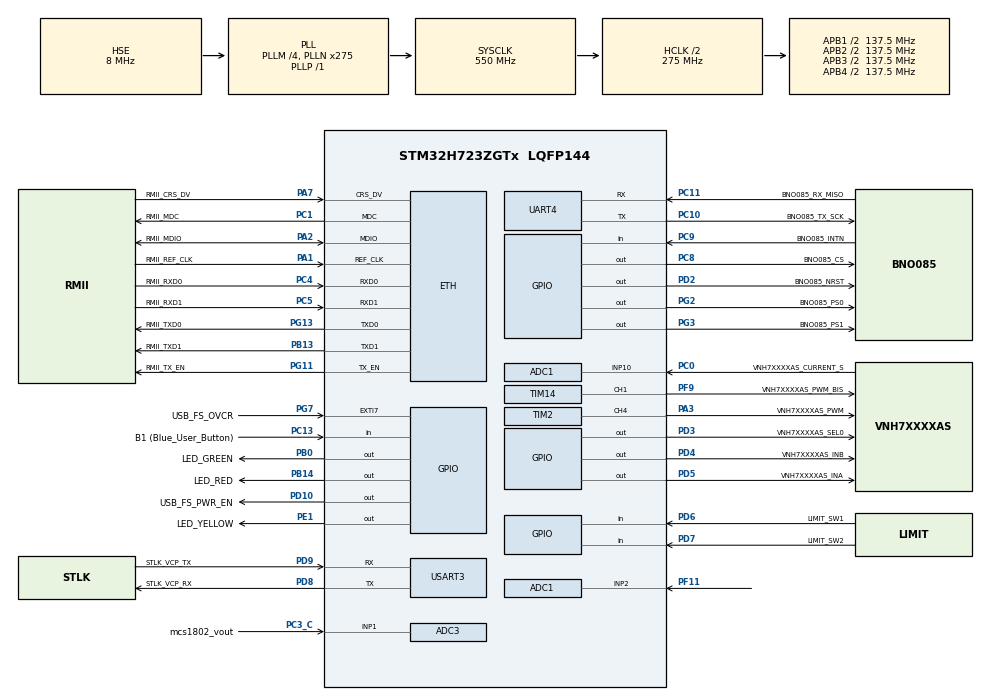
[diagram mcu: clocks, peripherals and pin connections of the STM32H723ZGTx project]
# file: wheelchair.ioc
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ADC1.Channel-0\#ChannelRegularConversion=ADC_CHANNEL_2
ADC1.NbrOfConversionFlag=1
ADC1.OffsetNumber-0\#ChannelRegularConversion=ADC_OFFSET_NONE
ADC1.OffsetSignedSaturation-0\#ChannelRegularConversion=DISABLE
ADC1.Rank-0\#ChannelRegularConversion=1
ADC1.SamplingTime-0\#ChannelRegularConversion=ADC_SAMPLETIME_1CYCLE_5
ADC1.master=1
ADC3.Channel-0\#ChannelRegularConversion=ADC_CHANNEL_1
ADC3.NbrOfConversionFlag=1
ADC3.OffsetNumber-0\#ChannelRegularConversion=ADC_OFFSET_NONE
ADC3.OffsetSign-0\#ChannelRegularConversion=ADC3_OFFSET_SIGN_NEGATIVE
ADC3.Rank-0\#ChannelRegularConversion=1
ADC3.SamplingTime-0\#ChannelRegularConversion=ADC3_SAMPLETIME_2CYCLES_5
CORTEX_M7.AccessPermission_S-Cortex_Memory_Protection_Unit_Region1_Settings_S=MPU_REGION_FULL_ACCESS
CORTEX_M7.AccessPermission_S-Cortex_Memory_Protection_Unit_Region2_Settings_S=MPU_REGION_FULL_ACCESS
CORTEX_M7.BaseAddress_S-Cortex_Memory_Protection_Unit_Region1_Settings_S=0x30000000
CORTEX_M7.BaseAddress_S-Cortex_Memory_Protection_Unit_Region2_Settings_S=0x30004000
CORTEX_M7.CPU_DCache=Enabled
CORTEX_M7.CPU_ICache=Enabled
CORTEX_M7.DisableExec_S-Cortex_Memory_Protection_Unit_Region1_Settings_S=MPU_INSTRUCTION_ACCESS_DISABLE
CORTEX_M7.Enable_S-Cortex_Memory_Protection_Unit_Region1_Settings_S=MPU_REGION_ENABLE
CORTEX_M7.Enable_S-Cortex_Memory_Protection_Unit_Region2_Settings_S=MPU_REGION_ENABLE
CORTEX_M7.IsBufferable_S-Cortex_Memory_Protection_Unit_Region1_Settings_S=MPU_ACCESS_BUFFERABLE
CORTEX_M7.IsBufferable_S-Cortex_Memory_Protection_Unit_Region2_Settings_S=MPU_ACCESS_BUFFERABLE
CORTEX_M7.IsCacheable_S-Cortex_Memory_Protection_Unit_Region1_Settings_S=MPU_ACCESS_CACHEABLE
CORTEX_M7.IsCacheable_S-Cortex_Memory_Protection_Unit_Region2_Settings_S=MPU_ACCESS_CACHEABLE
CORTEX_M7.IsShareable_S-Cortex_Memory_Protection_Unit_Region1_Settings_S=MPU_ACCESS_SHAREABLE
CORTEX_M7.IsShareable_S-Cortex_Memory_Protection_Unit_Region2_Settings_S=MPU_ACCESS_SHAREABLE
CORTEX_M7.Size_S-Cortex_Memory_Protection_Unit_Region1_Settings_S=MPU_REGION_SIZE_32KB
CORTEX_M7.Size_S-Cortex_Memory_Protection_Unit_Region2_Settings_S=MPU_REGION_SIZE_16KB
CORTEX_M7.TypeExtField_S-Cortex_Memory_Protection_Unit_Region2_Settings_S=MPU_TEX_LEVEL1
CORTEX_M7.default_mode_Activation=1
Dma.Request0=UART4_RX
Dma.UART4_RX.0.Direction=DMA_PERIPH_TO_MEMORY
Dma.UART4_RX.0.EventEnable=DISABLE
Dma.UART4_RX.0.FIFOMode=DMA_FIFOMODE_DISABLE
Dma.UART4_RX.0.Instance=DMA1_Stream0
Dma.UART4_RX.0.MemDataAlignment=DMA_MDATAALIGN_BYTE
Dma.UART4_RX.0.MemInc=DMA_MINC_ENABLE
Dma.UART4_RX.0.Mode=DMA_NORMAL
Dma.UART4_RX.0.PeriphDataAlignment=DMA_PDATAALIGN_BYTE
Dma.UART4_RX.0.PeriphInc=DMA_PINC_DISABLE
Dma.UART4_RX.0.Polarity=HAL_DMAMUX_REQ_GEN_RISING
Dma.UART4_RX.0.Priority=DMA_PRIORITY_LOW
Dma.UART4_RX.0.RequestNumber=1
Dma.UART4_RX.0.SignalID=NONE
Dma.UART4_RX.0.SyncEnable=DISABLE
Dma.UART4_RX.0.SyncPolarity=HAL_DMAMUX_SYNC_NO_EVENT
Dma.UART4_RX.0.SyncRequestNumber=1
Dma.UART4_RX.0.SyncSignalID=NONE
ETH.MediaInterface=HAL_ETH_RMII_MODE
ETH.RxBuffLen=1536
ETH.RxBufferAddress=0x30000200
ETH.TxDescAddress=0x30000100
FREERTOS.INCLUDE_vTaskDelayUntil=1
FREERTOS.Queues01=imu_queue,19,uint8_t,0,Dynamic,NULL,NULL;debug_queue,4,control_vars_t,0,Dynamic,NULL,NULL
FREERTOS.Tasks01=defaultTask,0,4096,StartDefaultTask,Default,NULL,Dynamic,NULL,NULL;debugTask,-3,2048,startDebugTask,Default,NULL,Dynamic,NULL,NULL;ctrlSystemTask,-3,4096,StartCtrlSystemTask,Default,NULL,Dynamic,NULL,NULL
FREERTOS.configMINIMAL_STACK_SIZE=512
FREERTOS.configTIMER_QUEUE_LENGTH=15
FREERTOS.configTIMER_TASK_STACK_DEPTH=2048
FREERTOS.configTOTAL_HEAP_SIZE=153600
FREERTOS.configUSE_COUNTING_SEMAPHORES=0
FREERTOS.configUSE_NEWLIB_REENTRANT=1
FREERTOS.configUSE_RECURSIVE_MUTEXES=0
FREERTOS.configUSE_TIMERS=1
LWIP.BSP.number=1
LWIP.DEFAULT_THREAD_STACKSIZE=4096
LWIP.IP_ADDRESS=192.168.033.100
LWIP.LWIP_DHCP=0
LWIP.MEM_SIZE=10*1024
LWIP.NETMASK_ADDRESS=255.255.255.000
LWIP.PBUF_POOL_BUFSIZE=1536
LWIP.TCPIP_THREAD_STACKSIZE=4096
LWIP.TCP_MSS=1460
LWIP.TCP_SND_BUF=5840
LWIP.TCP_SND_QUEUELEN=16
LWIP.TCP_WND=5840
LWIP.Version=v2.1.2_Cube
LWIP0.BSP.STBoard=false
LWIP0.BSP.api=BSP_COMPONENT_DRIVER
LWIP0.BSP.component=LAN8742
LWIP0.BSP.instance=LAN8742
LWIP0.BSP.name=Driver_PHY
LWIP0.BSP.semaphore=S_LAN8742
LWIP0.BSP.solution=LAN8742
Mcu.Family=STM32H7
Mcu.Name=STM32H723ZGTx
Mcu.Package=LQFP144
NVIC.DMA1_Stream0_IRQn=true\:5\:0\:false\:false\:true\:true\:false\:true\:true
NVIC.ETH_IRQn=true\:5\:0\:false\:false\:true\:true\:true\:true\:true
NVIC.PriorityGroup=NVIC_PRIORITYGROUP_4
NVIC.TIM6_DAC_IRQn=true\:15\:0\:false\:false\:true\:false\:false\:true\:true
NVIC.TimeBase=TIM6_DAC_IRQn
NVIC.TimeBaseIP=TIM6
PA1.GPIO_Label=RMII_REF_CLK
PA1.GPIO_Speed=GPIO_SPEED_FREQ_VERY_HIGH
PA1.Mode=RMII
PA1.Signal=ETH_REF_CLK
PA10.GPIO_Label=USB_FS_ID
PA10.Signal=USB_OTG_HS_ID
PA13(JTMS/SWDIO).GPIO_Label=SWDIO
PA13(JTMS/SWDIO).Mode=Trace_Asynchronous_SW
PA13(JTMS/SWDIO).Signal=DEBUG_JTMS-SWDIO
PA14(JTCK/SWCLK).GPIO_Label=SWCLK
PA14(JTCK/SWCLK).Mode=Trace_Asynchronous_SW
PA14(JTCK/SWCLK).Signal=DEBUG_JTCK-SWCLK
PA2.GPIO_Label=RMII_MDIO
PA2.GPIO_Speed=GPIO_SPEED_FREQ_VERY_HIGH
PA2.Mode=RMII
PA2.Signal=ETH_MDIO
PA3.GPIO_Label=VNH7XXXXAS_PWM
PA3.GPIO_Speed=GPIO_SPEED_FREQ_VERY_HIGH
PA3.Signal=S_TIM2_CH4
PA7.GPIO_Label=RMII_CRS_DV
PA7.GPIO_Speed=GPIO_SPEED_FREQ_VERY_HIGH
PA7.Mode=RMII
PA7.Signal=ETH_CRS_DV
PA9.GPIO_Label=USB_FS_VBUS
PA9.Signal=USB_OTG_HS_VBUS
PB0.GPIO_Label=LED_GREEN
PB0.Signal=GPIO_Output
PB13.GPIO_Label=RMII_TXD1
PB13.GPIO_Speed=GPIO_SPEED_FREQ_VERY_HIGH
PB13.Mode=RMII
PB13.Signal=ETH_TXD1
PB14.GPIO_Label=LED_RED
PB14.Signal=GPIO_Output
PB3(JTDO/TRACESWO).GPIO_Label=SWO
PB3(JTDO/TRACESWO).Mode=Trace_Asynchronous_SW
PB3(JTDO/TRACESWO).Signal=DEBUG_JTDO-SWO
PC0.GPIO_Label=VNH7XXXXAS_CURRENT_S
PC0.Signal=ADCx_INP10
PC1.GPIO_Label=RMII_MDC
PC1.GPIO_Speed=GPIO_SPEED_FREQ_VERY_HIGH
PC1.Mode=RMII
PC1.Signal=ETH_MDC
PC10.GPIO_Label=BNO085_TX_SCK
PC10.GPIO_Speed=GPIO_SPEED_FREQ_VERY_HIGH
PC10.Mode=Asynchronous
PC10.Signal=UART4_TX
PC11.GPIO_Label=BNO085_RX_MISO
PC11.Mode=Asynchronous
PC11.Signal=UART4_RX
PC13.GPIO_Label=B1 (Blue_User_Button)
PC13.Signal=GPIO_Input
PC14-OSC32_IN.Signal=RCC_OSC32_IN
PC15-OSC32_OUT.Signal=RCC_OSC32_OUT
PC3_C.GPIO_Label=mcs1802_vout
PC3_C.Mode=IN1-Single-Ended
PC3_C.Signal=ADC3_INP1
PC4.GPIO_Label=RMII_RXD0
PC4.GPIO_Speed=GPIO_SPEED_FREQ_VERY_HIGH
PC4.Mode=RMII
PC4.Signal=ETH_RXD0
PC5.GPIO_Label=RMII_RXD1
PC5.GPIO_Speed=GPIO_SPEED_FREQ_VERY_HIGH
PC5.Mode=RMII
PC5.Signal=ETH_RXD1
PC8.GPIO_Label=BNO085_CS
PC8.Signal=GPIO_Output
PC9.GPIO_Label=BNO085_INTN
PC9.Signal=GPIO_Input
PD10.GPIO_Label=USB_FS_PWR_EN
PD10.Signal=GPIO_Output
PD2.GPIO_Label=BNO085_NRST
PD2.Signal=GPIO_Output
PD3.GPIO_Label=VNH7XXXXAS_SEL0
PD3.Signal=GPIO_Output
PD4.GPIO_Label=VNH7XXXXAS_INB
PD4.Signal=GPIO_Output
PD5.GPIO_Label=VNH7XXXXAS_INA
PD5.Signal=GPIO_Output
PD6.GPIO_Label=LIMIT_SW1
PD6.Signal=GPIO_Input
PD7.GPIO_Label=LIMIT_SW2
PD7.Signal=GPIO_Input
PD8.GPIO_Label=STLK_VCP_RX
PD8.Mode=Asynchronous
PD8.Signal=USART3_TX
PD9.GPIO_Label=STLK_VCP_TX
PD9.Mode=Asynchronous
PD9.Signal=USART3_RX
PE1.GPIO_Label=LED_YELLOW
PE1.Signal=GPIO_Output
PF11.Mode=IN2-Single-Ended
PF11.Signal=ADC1_INP2
PF9.GPIO_Label=VNH7XXXXAS_PWM_BIS
PF9.GPIO_Speed=GPIO_SPEED_FREQ_VERY_HIGH
PF9.Signal=S_TIM14_CH1
PG11.GPIO_Label=RMII_TX_EN
PG11.GPIO_Speed=GPIO_SPEED_FREQ_VERY_HIGH
PG11.Mode=RMII
PG11.Signal=ETH_TX_EN
PG13.GPIO_Label=RMII_TXD0
PG13.GPIO_Speed=GPIO_SPEED_FREQ_VERY_HIGH
PG13.Mode=RMII
PG13.Signal=ETH_TXD0
PG2.GPIO_Label=BNO085_PS0
PG2.Signal=GPIO_Output
PG3.GPIO_Label=BNO085_PS1
PG3.Signal=GPIO_Output
PG7.GPIO_Label=USB_FS_OVCR
PG7.Signal=GPXTI7
PH0-OSC_IN.GPIO_Label=MCO
PH0-OSC_IN.Mode=HSE-External-Oscillator
PH0-OSC_IN.Signal=RCC_OSC_IN
PH1-OSC_OUT.Mode=HSE-External-Oscillator
PH1-OSC_OUT.Signal=RCC_OSC_OUT
ProjectManager.HeapSize=0x200
ProjectManager.StackSize=0x400
ProjectManager.TargetToolchain=STM32CubeIDE
RCC.ADCFreq_Value=100000000
RCC.APB1Freq_Value=137500000
RCC.APB2Freq_Value=137500000
RCC.APB3Freq_Value=137500000
RCC.APB4Freq_Value=137500000
RCC.CortexFreq_Value=550000000
RCC.D1PPRE=RCC_APB3_DIV2
RCC.D2PPRE1=RCC_APB1_DIV2
RCC.D2PPRE2=RCC_APB2_DIV2
RCC.D3PPRE=RCC_APB4_DIV2
RCC.DIVM1=4
RCC.DIVM2=1
RCC.DIVN1=275
RCC.DIVN2=50
RCC.DIVP1=1
RCC.DIVP2=4
RCC.DIVQ1=4
RCC.HCLKFreq_Value=275000000
RCC.HPRE=RCC_HCLK_DIV2
RCC.HSE_VALUE=8000000
RCC.PLLFRACN=0
RCC.PLLSourceVirtual=RCC_PLLSOURCE_HSE
RCC.SYSCLKFreq_VALUE=550000000
RCC.SYSCLKSource=RCC_SYSCLKSOURCE_PLLCLK
RCC.USBCLockSelection=RCC_USBCLKSOURCE_HSI48
RCC.USBFreq_Value=48000000
SH.ADCx_INP10.0=ADC1_INP10,IN10-Single-Ended
SH.S_TIM14_CH1.0=TIM14_CH1,PWM Generation1 CH1
SH.S_TIM2_CH4.0=TIM2_CH4,PWM Generation4 CH4
TIM14.Channel=TIM_CHANNEL_1
TIM14.Period=2048-1
TIM14.Prescaler=7-1
TIM2.AutoReloadPreload=TIM_AUTORELOAD_PRELOAD_ENABLE
TIM2.Channel-PWM\ Generation4\ CH4=TIM_CHANNEL_4
TIM2.Period=2048-1
TIM2.Prescaler=7-1
USART3.VirtualMode-Asynchronous=VM_ASYNC
VP_FREERTOS_VS_CMSIS_V1.Mode=CMSIS_V1
VP_LWIP_VS_Enabled.Mode=Enabled
VP_MEMORYMAP_VS_MEMORYMAP.Mode=CurAppReg
VP_SYS_VS_tim6.Mode=TIM6
VP_TIM14_VS_ClockSourceINT.Mode=Enable_Timer
VP_TIM2_VS_ClockSourceINT.Mode=Internal
board=NUCLEO-H723ZG

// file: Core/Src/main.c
/* USER CODE BEGIN Header */
/**
  ******************************************************************************
  * @file           : main.c
  * @brief          : Main program body
  ******************************************************************************
  * @attention
  *
  * Copyright (c) 2024 STMicroelectronics.
  * All rights reserved.
  *
  * This software is licensed under terms that can be found in the LICENSE file
  * in the root directory of this software component.
  * If no LICENSE file comes with this software, it is provided AS-IS.
  *
  ******************************************************************************
  */
/* USER CODE END Header */
#include "main.h"
#include "cmsis_os.h"
#include "adc.h"
#include "dma.h"
#include "lwip.h"
#include "memorymap.h"
#include "tim.h"
#include "usart.h"
#include "gpio.h"

/* USER CODE BEGIN Includes */
//#include "lwip/udp.h"
#include <string.h>

/* USER CODE END Includes */

void SystemClock_Config(void);
void PeriphCommonClock_Config(void);
static void MPU_Config(void);
void MX_FREERTOS_Init(void);

/* USER CODE BEGIN 0 */
uint8_t abBuffer[ALIGN_BASE2_CEIL(19, __SCB_DCACHE_LINE_SIZE)] __ALIGNED(__SCB_DCACHE_LINE_SIZE);
osPoolDef(mpool, 19, uint8_t);
osPoolId  mpool;
/* USER CODE END 0 */

int main(void)
{

  /* MPU Configuration--------------------------------------------------------*/
  MPU_Config();

  /* Enable the CPU Cache */

  /* Enable I-Cache---------------------------------------------------------*/
  SCB_EnableICache();

  /* Enable D-Cache---------------------------------------------------------*/
  SCB_EnableDCache();

  /* MCU Configuration--------------------------------------------------------*/

  /* Reset of all peripherals, Initializes the Flash interface and the Systick. */
  HAL_Init();

  /* Configure the system clock */
  SystemClock_Config();

  /* Configure the peripherals common clocks */
  PeriphCommonClock_Config();

  /* Initialize all configured peripherals */
  MX_GPIO_Init();
  MX_DMA_Init();
  MX_USART3_UART_Init();
  MX_ADC1_Init();
  MX_UART4_Init();
  MX_TIM2_Init();
  MX_TIM14_Init();
  MX_ADC3_Init();
  /* USER CODE BEGIN 2 */
  mpool = osPoolCreate(osPool(mpool));
  SCB_InvalidateDCache_by_Addr(abBuffer, sizeof(abBuffer));
  UART_Start_Receive_DMA(&huart4, abBuffer, 19);
  HAL_UART_Receive_DMA(&huart4,  abBuffer, 19);

  /* USER CODE END 2 */

  /* Call init function for freertos objects (in cmsis_os2.c) */
  MX_FREERTOS_Init();

  /* Start scheduler */
  osKernelStart();

  /* We should never get here as control is now taken by the scheduler */

  /* Infinite loop */
  while (1)
  {

  }
}

void SystemClock_Config(void)
{
  RCC_OscInitTypeDef RCC_OscInitStruct = {0};
  RCC_ClkInitTypeDef RCC_ClkInitStruct = {0};

  /** Supply configuration update enable
  */
  HAL_PWREx_ConfigSupply(PWR_LDO_SUPPLY);

  /** Configure the main internal regulator output voltage
  */
  __HAL_PWR_VOLTAGESCALING_CONFIG(PWR_REGULATOR_VOLTAGE_SCALE0);

  while(!__HAL_PWR_GET_FLAG(PWR_FLAG_VOSRDY)) {}

  /** Initializes the RCC Oscillators according to the specified parameters
  * in the RCC_OscInitTypeDef structure.
  */
  RCC_OscInitStruct.OscillatorType = RCC_OSCILLATORTYPE_HSE;
  RCC_OscInitStruct.HSEState = RCC_HSE_ON;
  RCC_OscInitStruct.PLL.PLLState = RCC_PLL_ON;
  RCC_OscInitStruct.PLL.PLLSource = RCC_PLLSOURCE_HSE;
  RCC_OscInitStruct.PLL.PLLM = 4;
  RCC_OscInitStruct.PLL.PLLN = 275;
  RCC_OscInitStruct.PLL.PLLP = 1;
  RCC_OscInitStruct.PLL.PLLQ = 4;
  RCC_OscInitStruct.PLL.PLLR = 2;
  RCC_OscInitStruct.PLL.PLLRGE = RCC_PLL1VCIRANGE_1;
  RCC_OscInitStruct.PLL.PLLVCOSEL = RCC_PLL1VCOWIDE;
  RCC_OscInitStruct.PLL.PLLFRACN = 0;
  if (HAL_RCC_OscConfig(&RCC_OscInitStruct) != HAL_OK)
  {
    Error_Handler();
  }

  /** Initializes the CPU, AHB and APB buses clocks
  */
  RCC_ClkInitStruct.ClockType = RCC_CLOCKTYPE_HCLK|RCC_CLOCKTYPE_SYSCLK
                              |RCC_CLOCKTYPE_PCLK1|RCC_CLOCKTYPE_PCLK2
                              |RCC_CLOCKTYPE_D3PCLK1|RCC_CLOCKTYPE_D1PCLK1;
  RCC_ClkInitStruct.SYSCLKSource = RCC_SYSCLKSOURCE_PLLCLK;
  RCC_ClkInitStruct.SYSCLKDivider = RCC_SYSCLK_DIV1;
  RCC_ClkInitStruct.AHBCLKDivider = RCC_HCLK_DIV2;
  RCC_ClkInitStruct.APB3CLKDivider = RCC_APB3_DIV2;
  RCC_ClkInitStruct.APB1CLKDivider = RCC_APB1_DIV2;
  RCC_ClkInitStruct.APB2CLKDivider = RCC_APB2_DIV2;
  RCC_ClkInitStruct.APB4CLKDivider = RCC_APB4_DIV2;

  if (HAL_RCC_ClockConfig(&RCC_ClkInitStruct, FLASH_LATENCY_3) != HAL_OK)
  {
    Error_Handler();
  }
}

void PeriphCommonClock_Config(void)
{
  RCC_PeriphCLKInitTypeDef PeriphClkInitStruct = {0};

  /** Initializes the peripherals clock
  */
  PeriphClkInitStruct.PeriphClockSelection = RCC_PERIPHCLK_ADC;
  PeriphClkInitStruct.PLL2.PLL2M = 1;
  PeriphClkInitStruct.PLL2.PLL2N = 50;
  PeriphClkInitStruct.PLL2.PLL2P = 4;
  PeriphClkInitStruct.PLL2.PLL2Q = 2;
  PeriphClkInitStruct.PLL2.PLL2R = 2;
  PeriphClkInitStruct.PLL2.PLL2RGE = RCC_PLL2VCIRANGE_3;
  PeriphClkInitStruct.PLL2.PLL2VCOSEL = RCC_PLL2VCOWIDE;
  PeriphClkInitStruct.PLL2.PLL2FRACN = 0;
  PeriphClkInitStruct.AdcClockSelection = RCC_ADCCLKSOURCE_PLL2;
  if (HAL_RCCEx_PeriphCLKConfig(&PeriphClkInitStruct) != HAL_OK)
  {
    Error_Handler();
  }
}

 /* MPU Configuration */

void MPU_Config(void)
{
  MPU_Region_InitTypeDef MPU_InitStruct = {0};

  /* Disables the MPU */
  HAL_MPU_Disable();

  /** Initializes and configures the Region and the memory to be protected
  */
  MPU_InitStruct.Enable = MPU_REGION_ENABLE;
  MPU_InitStruct.Number = MPU_REGION_NUMBER0;
  MPU_InitStruct.BaseAddress = 0x0;
  MPU_InitStruct.Size = MPU_REGION_SIZE_4GB;
  MPU_InitStruct.SubRegionDisable = 0x87;
  MPU_InitStruct.TypeExtField = MPU_TEX_LEVEL0;
  MPU_InitStruct.AccessPermission = MPU_REGION_NO_ACCESS;
  MPU_InitStruct.DisableExec = MPU_INSTRUCTION_ACCESS_DISABLE;
  MPU_InitStruct.IsShareable = MPU_ACCESS_SHAREABLE;
  MPU_InitStruct.IsCacheable = MPU_ACCESS_NOT_CACHEABLE;
  MPU_InitStruct.IsBufferable = MPU_ACCESS_NOT_BUFFERABLE;

  HAL_MPU_ConfigRegion(&MPU_InitStruct);

  /** Initializes and configures the Region and the memory to be protected
  */
  MPU_InitStruct.Number = MPU_REGION_NUMBER1;
  MPU_InitStruct.BaseAddress = 0x30000000;
  MPU_InitStruct.Size = MPU_REGION_SIZE_32KB;
  MPU_InitStruct.SubRegionDisable = 0x0;
  MPU_InitStruct.AccessPermission = MPU_REGION_FULL_ACCESS;
  MPU_InitStruct.IsCacheable = MPU_ACCESS_CACHEABLE;
  MPU_InitStruct.IsBufferable = MPU_ACCESS_BUFFERABLE;

  HAL_MPU_ConfigRegion(&MPU_InitStruct);

  /** Initializes and configures the Region and the memory to be protected
  */
  MPU_InitStruct.Number = MPU_REGION_NUMBER2;
  MPU_InitStruct.BaseAddress = 0x30004000;
  MPU_InitStruct.Size = MPU_REGION_SIZE_16KB;
  MPU_InitStruct.TypeExtField = MPU_TEX_LEVEL1;
  MPU_InitStruct.DisableExec = MPU_INSTRUCTION_ACCESS_ENABLE;

  HAL_MPU_ConfigRegion(&MPU_InitStruct);
  /* Enables the MPU */
  HAL_MPU_Enable(MPU_PRIVILEGED_DEFAULT);

}

void HAL_TIM_PeriodElapsedCallback(TIM_HandleTypeDef *htim)
{
  if (htim->Instance == TIM6) {
    HAL_IncTick();
  }
}

void Error_Handler(void)
{
  __disable_irq();
  while (1)
  {
  }
}

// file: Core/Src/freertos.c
/* USER CODE BEGIN Header */
/**
  ******************************************************************************
  * File Name          : freertos.c
  * Description        : Code for freertos applications
  ******************************************************************************
  * @attention
  *
  * Copyright (c) 2024 STMicroelectronics.
  * All rights reserved.
  *
  * This software is licensed under terms that can be found in the LICENSE file
  * in the root directory of this software component.
  * If no LICENSE file comes with this software, it is provided AS-IS.
  *
  ******************************************************************************
  */
/* USER CODE END Header */

#include "FreeRTOS.h"
#include "task.h"
#include "main.h"
#include "cmsis_os.h"

/* USER CODE BEGIN Includes */
#include <stdlib.h>
#include "cpp_link.hpp"
#include "lwip/apps/lwiperf.h"

/* USER CODE END Includes */

osThreadId defaultTaskHandle;
osThreadId debugTaskHandle;
osThreadId ctrlSystemTaskHandle;
osMessageQId imu_queueHandle;
osMessageQId debug_queueHandle;

/* USER CODE BEGIN FunctionPrototypes */

void vApplicationStackOverflowHook(xTaskHandle xTask, signed char *pcTaskName)
{
   /* ETH_CODE: add breakpoint when stack oveflow is detected by FreeRTOS.
	* Useful for debugging issues.
	*/
   __BKPT(0);
}

/* USER CODE END FunctionPrototypes */

void StartDefaultTask(void const * argument);
void startDebugTask(void const * argument);
void StartCtrlSystemTask(void const * argument);

extern void MX_LWIP_Init(void);
void MX_FREERTOS_Init(void); /* (MISRA C 2004 rule 8.1) */

/* GetIdleTaskMemory prototype (linked to static allocation support) */
void vApplicationGetIdleTaskMemory( StaticTask_t **ppxIdleTaskTCBBuffer, StackType_t **ppxIdleTaskStackBuffer, uint32_t *pulIdleTaskStackSize );

/* GetTimerTaskMemory prototype (linked to static allocation support) */
void vApplicationGetTimerTaskMemory( StaticTask_t **ppxTimerTaskTCBBuffer, StackType_t **ppxTimerTaskStackBuffer, uint32_t *pulTimerTaskStackSize );

/* USER CODE BEGIN GET_IDLE_TASK_MEMORY */
static StaticTask_t xIdleTaskTCBBuffer;
static StackType_t xIdleStack[configMINIMAL_STACK_SIZE];

void vApplicationGetIdleTaskMemory( StaticTask_t **ppxIdleTaskTCBBuffer, StackType_t **ppxIdleTaskStackBuffer, uint32_t *pulIdleTaskStackSize )
{
  *ppxIdleTaskTCBBuffer = &xIdleTaskTCBBuffer;
  *ppxIdleTaskStackBuffer = &xIdleStack[0];
  *pulIdleTaskStackSize = configMINIMAL_STACK_SIZE;
  /* place for user code */
}
/* USER CODE END GET_IDLE_TASK_MEMORY */

/* USER CODE BEGIN GET_TIMER_TASK_MEMORY */
static StaticTask_t xTimerTaskTCBBuffer;
static StackType_t xTimerStack[configTIMER_TASK_STACK_DEPTH];

void vApplicationGetTimerTaskMemory( StaticTask_t **ppxTimerTaskTCBBuffer, StackType_t **ppxTimerTaskStackBuffer, uint32_t *pulTimerTaskStackSize )
{
  *ppxTimerTaskTCBBuffer = &xTimerTaskTCBBuffer;
  *ppxTimerTaskStackBuffer = &xTimerStack[0];
  *pulTimerTaskStackSize = configTIMER_TASK_STACK_DEPTH;
  /* place for user code */
}
/* USER CODE END GET_TIMER_TASK_MEMORY */

void MX_FREERTOS_Init(void) {

  /* Create the queue(s) */
  /* definition and creation of imu_queue */
  osMessageQDef(imu_queue, 19, uint8_t);
  imu_queueHandle = osMessageCreate(osMessageQ(imu_queue), NULL);

  /* definition and creation of debug_queue */
  osMessageQDef(debug_queue, 4, control_vars_t);
  debug_queueHandle = osMessageCreate(osMessageQ(debug_queue), NULL);

  /* Create the thread(s) */
  /* definition and creation of defaultTask */
  osThreadDef(defaultTask, StartDefaultTask, osPriorityNormal, 0, 4096);
  defaultTaskHandle = osThreadCreate(osThread(defaultTask), NULL);

  /* definition and creation of debugTask */
  osThreadDef(debugTask, startDebugTask, osPriorityIdle, 0, 2048);
  debugTaskHandle = osThreadCreate(osThread(debugTask), NULL);

  /* definition and creation of ctrlSystemTask */
  osThreadDef(ctrlSystemTask, StartCtrlSystemTask, osPriorityIdle, 0, 4096);
  ctrlSystemTaskHandle = osThreadCreate(osThread(ctrlSystemTask), NULL);

}

void StartDefaultTask(void const * argument)
{
  /* init code for LWIP */
  MX_LWIP_Init();
  /* USER CODE BEGIN StartDefaultTask */
  rtos_handlers_matrix_t rtos_handler;
  uint32_t number_taks_to_wait = 2;
  uint32_t number_semaphores = 1;
  uint32_t number_queues = 1;
  uint32_t hand_size = sizeof(osThreadId);

  rtos_handler.thread_vector.size = number_taks_to_wait;
  rtos_handler.thread_vector.handler = (osThreadId*) malloc(number_taks_to_wait * hand_size);
  *(rtos_handler.thread_vector.handler) = ctrlSystemTaskHandle;
  *(rtos_handler.thread_vector.handler + 1) = debugTaskHandle;

//	cpp_main_process(NULL, 0);

  main_cpp_wrapper(&rtos_handler);
	/* Infinite loop */
	for(;;)
	{
		osDelay(1);
	}
  /* USER CODE END StartDefaultTask */
}

void startDebugTask(void const * argument)
{
  /* USER CODE BEGIN startDebugTask */
	xTaskNotifyWait(0x00, /* Don't clear any notification bits on entry. */
						ULONG_MAX, /* Reset the notification value to 0 on exit. */
						NULL, /* Notification value is not required */
						portMAX_DELAY); /* Block indefinitely. */

	rtos_handlers_matrix_t rtos_handler;
	uint32_t number_taks_to_wait = 2;
	uint32_t number_semaphores = 1;
	uint32_t number_queues = 1;

	uint32_t hand_size = sizeof(osMessageQId);

	rtos_handler.queue_vector.size = number_queues;
	rtos_handler.queue_vector.handler = (osMessageQId*) malloc(number_queues * hand_size);
	*(rtos_handler.queue_vector.handler) = imu_queueHandle;

	hand_size = sizeof(osThreadId);
	rtos_handler.thread_vector.size = number_taks_to_wait;
	rtos_handler.thread_vector.handler = (osThreadId*) malloc(number_taks_to_wait * hand_size);
	*(rtos_handler.thread_vector.handler) = defaultTaskHandle;
	*(rtos_handler.thread_vector.handler + 1) = ctrlSystemTaskHandle;

	debug_cpp_wrapper(&rtos_handler);

  /* Infinite loop */
  for(;;)
  {
    osDelay(1);
  }
  /* USER CODE END startDebugTask */
}

void StartCtrlSystemTask(void const * argument)
{
  /* USER CODE BEGIN StartCtrlSystemTask */
	xTaskNotifyWait(0x00, /* Don't clear any notification bits on entry. */
						ULONG_MAX, /* Reset the notification value to 0 on exit. */
						NULL, /* Notification value is not required */
						portMAX_DELAY); /* Block indefinitely. */

	rtos_handlers_matrix_t rtos_handler;
	uint32_t number_taks_to_wait = 2;
	uint32_t number_semaphores = 1;
	uint32_t number_queues = 1;

	uint32_t hand_size = sizeof(osMessageQId);

	rtos_handler.queue_vector.size = number_queues;
	rtos_handler.queue_vector.handler = (osMessageQId*) malloc(number_queues * hand_size);
	*(rtos_handler.queue_vector.handler) = imu_queueHandle;

	hand_size = sizeof(osThreadId);
	rtos_handler.thread_vector.size = number_taks_to_wait;
	rtos_handler.thread_vector.handler = (osThreadId*) malloc(number_taks_to_wait * hand_size);
	*(rtos_handler.thread_vector.handler) = defaultTaskHandle;
	*(rtos_handler.thread_vector.handler + 1) = debugTaskHandle;

	seat_ctrl_cpp_wrapper(&rtos_handler);
  /* Infinite loop */
  for(;;)
  {
    osDelay(1);
  }
  /* USER CODE END StartCtrlSystemTask */
}
